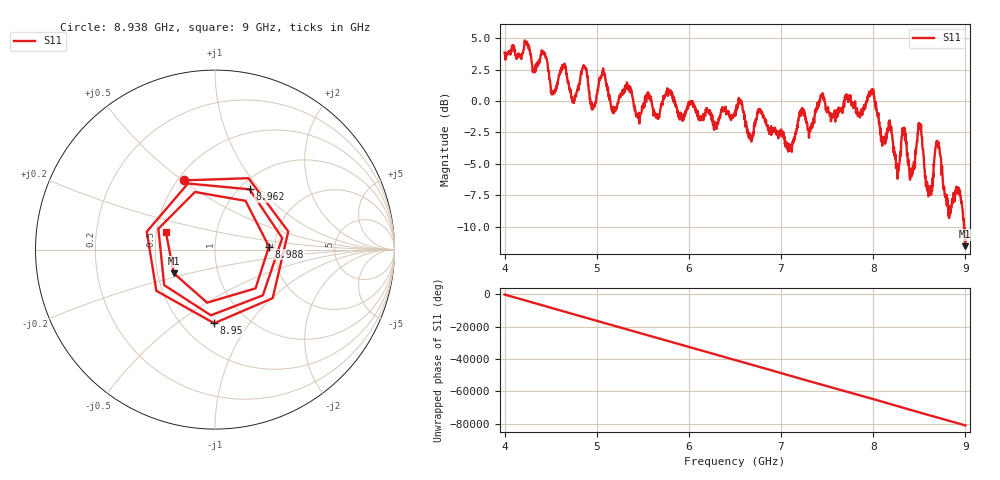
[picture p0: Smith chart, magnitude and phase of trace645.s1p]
! Created with skrf 1.8.0 (http://scikit-rf.org).
# Hz S RI R 50.0
!freq ReS11 ImS11
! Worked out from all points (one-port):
!   1601 points, 4 GHz to 9 GHz, reference 50 ohm
!   lowest |S11| = -11.5 dB at 8.997 GHz (marker M1), VSWR 1.72, Z = 30.4 - j8.65 ohm
!   |S11| at or under -10 dB: 8.984875 GHz to end of sweep
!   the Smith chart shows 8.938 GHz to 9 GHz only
!   S11 on the Smith chart (normalised r, x): 8.938 GHz: 0.54, +0.50; 8.95 GHz: 0.71, -0.70; 8.962 GHz: 1.11, +0.88; 8.988 GHz: 1.86, +0.07; 9 GHz: 0.56, +0.12
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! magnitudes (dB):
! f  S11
! 4 GHz  3.9
! 4.428 GHz  3.7
! 4.528 GHz  0.6
! 4.625 GHz  2.9
! 4.744 GHz  -0.1
! 4.862 GHz  2.7
! 4.956 GHz  -0.5
! 5.062 GHz  2.3
! 5.25 GHz  0.3
! 5.875 GHz  -0.9
! 6.5 GHz  -0.8
! 7.125 GHz  -3.4
! 7.219 GHz  -0.7
! 7.75 GHz  0.1
! 7.988 GHz  0.8
! 8.259 GHz  -5.4
! 8.328 GHz  -2.3
! 8.375 GHz  -4.9
! 8.506 GHz  -2.0
! 8.594 GHz  -6.8
! 8.697 GHz  -3.2
! 8.812 GHz  -8.5
! 8.938 GHz  -7.5
! 8.95 GHz  -7.7
! 8.962 GHz  -8.2
! 8.988 GHz  -10.4
! 8.997 GHz  -11.5
! 9 GHz  -10.7
